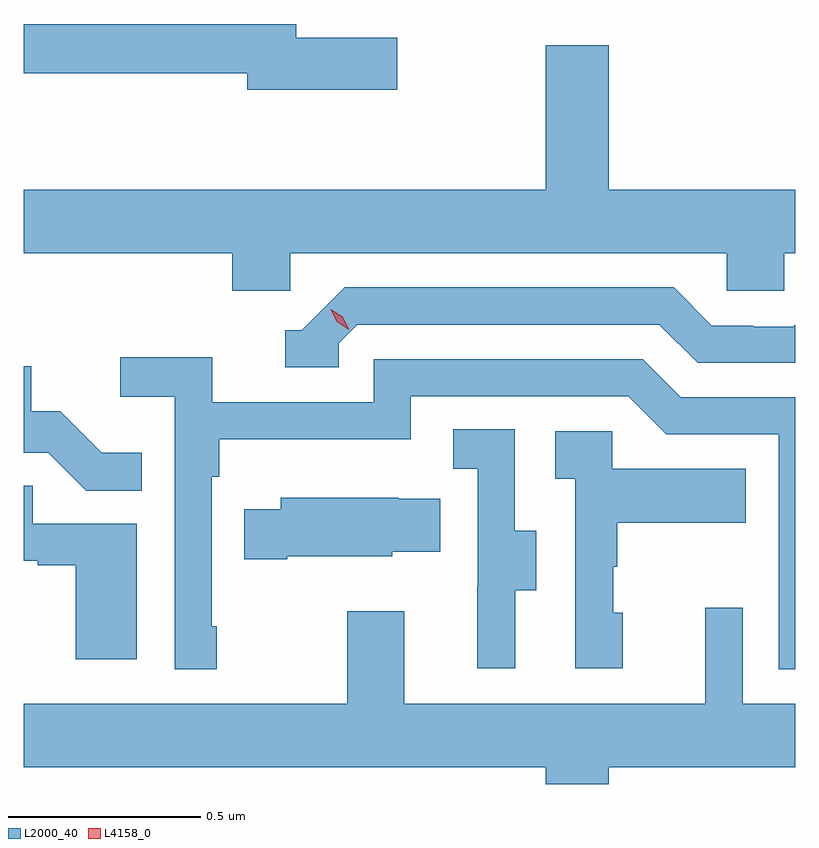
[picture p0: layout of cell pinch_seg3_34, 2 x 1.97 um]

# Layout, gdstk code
import gdstk
lib = gdstk.Library(unit=1e-6, precision=1e-09)
def P(c, l, *ps):  # polygons
    for p in ps: c.add(gdstk.Polygon(p, *l))
L2000_40 = (2000, 40)
L4158_0 = (4158, 0)

pinch_seg3_34 = lib.new_cell('pinch_seg3_34')
P(pinch_seg3_34, L2000_40, [(1099.687,738.77),(1099.426,738.77),(1099.426,738.806),(1098.719,738.806),(1098.719,738.678),(1099.298,738.678),(1099.298,738.635),(1099.687,738.635)],
  [(1099.41,738.212),(1100.541,738.212),(1100.541,738.114),(1100.691,738.114),(1100.691,738.212),(1100.719,738.212),(1100.719,738.376),(1100.236,738.376),(1100.236,738.751),(1100.072,738.751),(1100.072,738.376),(1098.719,738.376),(1098.719,738.212),(1099.259,738.212),(1099.259,738.114),(1099.41,738.114)],
  [(1099.536,737.979),(1099.584,738.027),(1100.367,738.027),(1100.466,737.928),(1100.719,737.928),(1100.719,738.027),(1100.713,738.021),(1100.61,738.021),(1100.61,738.024),(1100.503,738.024),(1100.404,738.123),(1099.551,738.123),(1099.44,738.012),(1099.397,738.012),(1099.397,737.916),(1099.536,737.916)],
  [(1099.219,737.245),(1099.206,737.245),(1099.206,737.633),(1099.226,737.633),(1099.226,737.729),(1099.722,737.729),(1099.722,737.841),(1100.286,737.841),(1100.385,737.742),(1100.676,737.742),(1100.676,737.133),(1100.719,737.133),(1100.719,737.838),(1100.422,737.838),(1100.323,737.937),(1099.626,737.937),(1099.626,737.826),(1099.208,737.826),(1099.208,737.942),(1098.969,737.942),(1098.969,737.84),(1099.11,737.84),(1099.11,737.133),(1099.219,737.133)],
  [(1099.025,737.695),(1098.921,737.695),(1098.814,737.802),(1098.738,737.802),(1098.738,737.919),(1098.719,737.919),(1098.719,737.694),(1098.783,737.694),(1098.881,737.596),(1099.025,737.596)],
  [(1099.993,737.338),(1100.047,737.338),(1100.047,737.493),(1099.992,737.493),(1099.992,737.756),(1099.833,737.756),(1099.833,737.653),(1099.896,737.653),(1099.896,737.349),(1099.895,737.349),(1099.895,737.136),(1099.993,737.136)],
  [(1100.272,737.28),(1100.247,737.28),(1100.247,737.399),(1100.257,737.399),(1100.257,737.513),(1100.591,737.513),(1100.591,737.653),(1100.244,737.653),(1100.244,737.751),(1100.097,737.751),(1100.097,737.627),(1100.148,737.627),(1100.148,737.136),(1100.272,737.136)],
  [(1099.012,737.511),(1098.743,737.511),(1098.743,737.609),(1098.719,737.609),(1098.719,737.415),(1098.755,737.415),(1098.755,737.403),(1098.854,737.403),(1098.854,737.16),(1099.012,737.16)],
  [(1099.402,737.426),(1099.674,737.426),(1099.674,737.438),(1099.799,737.438),(1099.799,737.575),(1099.691,737.575),(1099.691,737.578),(1099.385,737.578),(1099.385,737.548),(1099.291,737.548),(1099.291,737.419),(1099.402,737.419)],
  [(1100.236,736.88),(1100.719,736.88),(1100.719,737.044),(1100.583,737.044),(1100.583,737.293),(1100.486,737.293),(1100.486,737.044),(1099.705,737.044),(1099.705,737.284),(1099.558,737.284),(1099.558,737.044),(1098.719,737.044),(1098.719,736.88),(1100.072,736.88),(1100.072,736.836),(1100.236,736.836)])
P(pinch_seg3_34, L4158_0, [(1099.562,738.014),(1099.531,738.034),(1099.515,738.067),(1099.515,738.067),(1099.515,738.067),(1099.546,738.047),(1099.562,738.015),(1099.562,738.014)])

lib.write_gds('pinch_seg3_34.gds')
